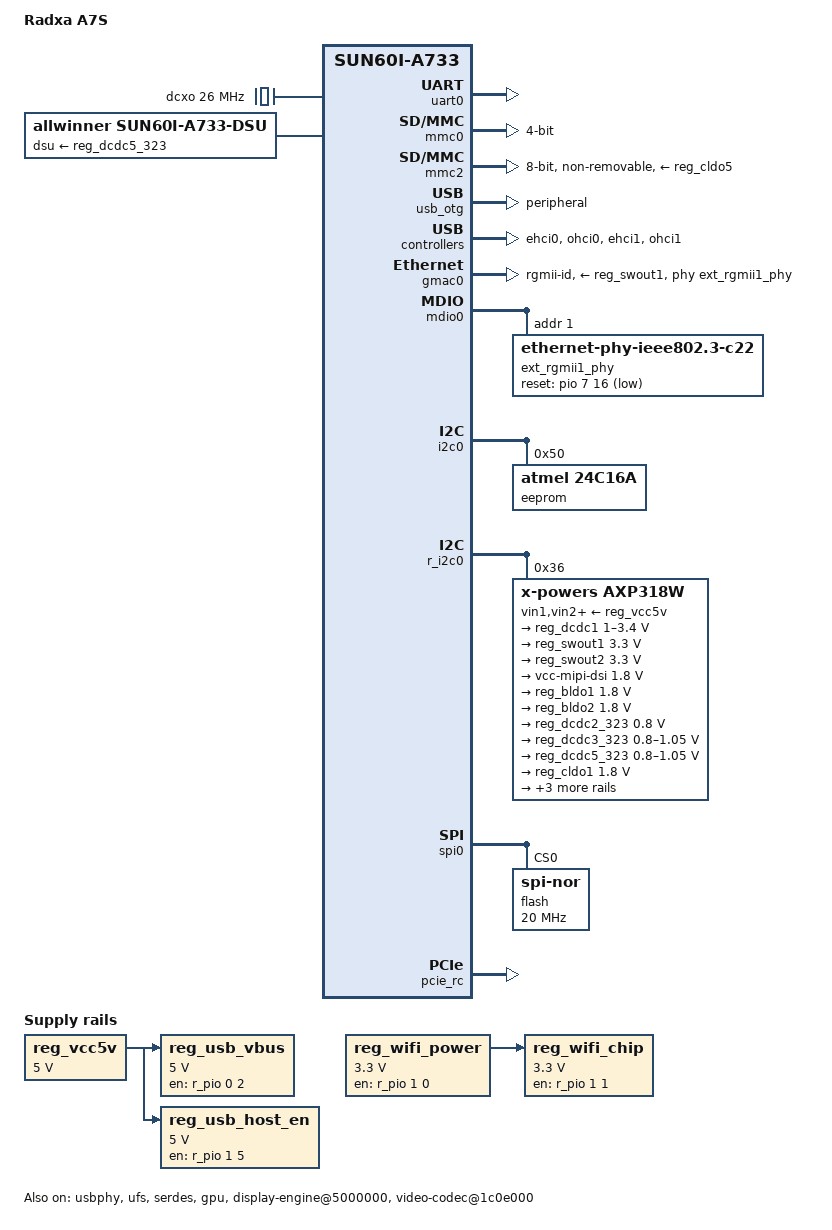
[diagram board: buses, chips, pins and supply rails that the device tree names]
// SPDX-License-Identifier: (GPL-2.0-only OR MIT)
// Copyright (C) 2025 Arm Ltd.

/dts-v1/;

#include "sun60i-a733.dtsi"

#include <dt-bindings/gpio/gpio.h>

/ {
	model = "Radxa A7S";
	compatible = "radxa,cubie-a7s", "allwinner,sun60i-a733";

	aliases {
		serial0 = &uart0;
	};

	chosen {
		stdout-path = "serial0:115200n8";
	};

	reg_vcc5v: vcc5v {
		/* board wide 5V supply from the USB-C connector */
		compatible = "regulator-fixed";
		regulator-name = "vcc-5v";
		regulator-min-microvolt = <5000000>;
		regulator-max-microvolt = <5000000>;
		regulator-always-on;
	};

	reg_usb_vbus: vbus {
		compatible = "regulator-fixed";
		regulator-name = "usb-vbus";
		regulator-min-microvolt = <5000000>;
		regulator-max-microvolt = <5000000>;
		vin-supply = <&reg_vcc5v>;
		gpio = <&r_pio 0 2 GPIO_ACTIVE_HIGH>;	/* PL2 */
		enable-active-high;
	};

	reg_usb_host_en: usb-host-en {
		compatible = "regulator-fixed";
		regulator-name = "usb-host-en";
		regulator-min-microvolt = <5000000>;
		regulator-max-microvolt = <5000000>;
		vin-supply = <&reg_vcc5v>;
		gpio = <&r_pio 1 5 GPIO_ACTIVE_HIGH>;	/* PM5 */
		enable-active-high;
		regulator-always-on;
		regulator-boot-on;
	};
};

&uart0 {
	pinctrl-names = "default";
	pinctrl-0 = <&uart0_pb_pins>;
	status = "okay";
};

&mmc0 {
	bootph-all;
	bus-width = <4>;
	status = "okay";
};

&mmc2 {
	bootph-all;
	bus-width = <8>;
	cap-mmc-hw-reset;
	mmc-ddr-1_8v;
	mmc-hs200-1_8v;
	non-removable;
	vmmc-supply = <&reg_cldo5>;
	vqmmc-supply = <&reg_swout2>;
	status = "okay";
};

&usb_otg {
	dr_mode = "peripheral";
	status = "okay";
};

&usbphy {
	usb0_vbus-supply = <&reg_vcc5v>;
	usb1_vbus-supply = <&reg_usb_vbus>;
	status = "okay";
};

&ehci0 {
	status = "okay";
};

&ohci0 {
	status = "okay";
};

&ehci1 {
	status = "okay";
};

&ohci1 {
	status = "okay";
};

&gmac0 {
	phy-mode = "rgmii-id";
	phy-handle = <&ext_rgmii1_phy>;
	phy-supply = <&reg_swout1>;

	tx-internal-delay-ps = <1200>;
	rx-internal-delay-ps = <1000>;

	status = "okay";
};

&mdio0 {
	ext_rgmii1_phy: ethernet-phy@1 {
		compatible = "ethernet-phy-ieee802.3-c22";
		reg = <1>;
		reset-gpios = <&pio 7 16 GPIO_ACTIVE_LOW>; /* PH16 */
		reset-assert-us = <10000>;
		reset-deassert-us = <150000>;
	};
};

&i2c0 {
	status = "okay";
	eeprom: eeprom@50 {
		compatible = "atmel,24c16a", "i2c-eeprom";
		reg = <0x50>;
	};
};

&r_i2c0 {
	status = "okay";

	axp318w: pmic@36 {
		compatible = "x-powers,axp318w";
		reg = <0x36>;
		#interrupt-cells = <1>;
		interrupt-controller;
		interrupt-parent = <&nmi_intc>;
		interrupts = <0 IRQ_TYPE_LEVEL_LOW>;
		status = "okay";

		vin1-supply = <&reg_vcc5v>;
		vin2-supply = <&reg_vcc5v>;
		vin3-supply = <&reg_vcc5v>;

		regulators {
			reg_dcdc1: dcdc1 {
				regulator-always-on;
				regulator-min-microvolt = <1000000>;
				regulator-max-microvolt = <3400000>;
				regulator-name = "vdd-3v3";
			};

			reg_swout1: swout1 {
				regulator-always-on;
				regulator-min-microvolt = <3300000>;
				regulator-max-microvolt = <3300000>;
				regulator-name = "vdd-swout1";
			};

			reg_swout2: swout2 {
				regulator-always-on;
				regulator-min-microvolt = <3300000>;
				regulator-max-microvolt = <3300000>;
				regulator-name = "vdd-swout2";
			};

			aldo1 {
				regulator-min-microvolt = <1800000>;
				regulator-max-microvolt = <1800000>;
				regulator-name = "vcc-mipi-dsi";
			};

			reg_bldo1: bldo1 {
				regulator-always-on;
				regulator-min-microvolt = <1800000>;
				regulator-max-microvolt = <1800000>;
				regulator-name = "vcc-pe";
			};

			reg_bldo2: bldo2 {
				regulator-always-on;
				regulator-min-microvolt = <1800000>;
				regulator-max-microvolt = <1800000>;
				regulator-name = "vcc-pd";
			};

			/* Supplies the SYSFB */
			reg_dcdc2_323: dcdc2 {
				regulator-always-on;
				regulator-min-microvolt = <800000>;
				regulator-max-microvolt = <800000>;
				regulator-name = "vdd-sys";
			};

			/* Supplies the "big" cluster (2 GHz cores); the range of
			   the BSP's operating points (air/OS) */
			reg_dcdc3_323: dcdc3 {
				regulator-always-on;
				regulator-min-microvolt = <800000>;
				regulator-max-microvolt = <1050000>;
				regulator-name = "vdd-cpub";
			};

			/* DCDC4 is polyphased with DCDC1 */

			/* Supplies the "small" cluster (1.8 GHz cores) and the DSU;
			   the range of the BSP's operating points (air/OS) */
			reg_dcdc5_323: dcdc5 {
				regulator-always-on;
				regulator-min-microvolt = <800000>;
				regulator-max-microvolt = <1050000>;
				regulator-name = "vdd-cpul";
			};

			reg_cldo1: cldo1 {
				regulator-min-microvolt = <1800000>;
				regulator-max-microvolt = <1800000>;
				regulator-name = "vcc-pm";
			};

			reg_cldo2: cldo2 {
				regulator-min-microvolt = <1800000>;
				regulator-max-microvolt = <1800000>;
				regulator-name = "vcc-hdmi";
			};

			reg_cldo3: cldo3 {
				regulator-min-microvolt = <1800000>;
				regulator-max-microvolt = <1800000>;
				regulator-name = "vcc-dram";
			};

			reg_cldo4: cldo4 {
				/* not connected */
			};

			reg_cldo5: cldo5 {
				regulator-min-microvolt = <1800000>;
				regulator-max-microvolt = <1800000>;
				regulator-name = "vcc-pc";
			};
		};
	};
};

&spi0  {
	status = "okay";

	flash@0 {
		#address-cells = <1>;
		#size-cells = <1>;
		compatible = "jedec,spi-nor";
		reg = <0>;
		spi-max-frequency = <20000000>;
	};
};

&ufs {
	bootph-all;
	status = "okay";
};

&serdes {
	status = "okay";
	combophy0: combo-phy0@6c01000 {
		lane_invert = <0 0 0 0>;
		lane_remap = <2 3 0 1>;
	};
};

&pcie_rc {
	status = "okay";
	pcie1v8-supply = <&reg_bldo1>;
	pcie3v3-supply = <&reg_dcdc1>;
};

/* air/OS additions */

/ {
	aliases {
		ethernet0 = &gmac0;
		mmc0 = &mmc0;
		mmc1 = &mmc2;
	};

	/* The AIC8800 Wi-Fi/Bluetooth module (USB, behind the CH334F hub):
	   power and chip enable, always on as in Radxa's BSP device tree. */
	reg_wifi_power: regulator-wifi-power {
		compatible = "regulator-fixed";
		regulator-name = "wifi-power-en";
		regulator-min-microvolt = <3300000>;
		regulator-max-microvolt = <3300000>;
		gpio = <&r_pio 1 0 GPIO_ACTIVE_HIGH>;	/* PM0 */
		enable-active-high;
		regulator-always-on;
	};

	reg_wifi_chip: regulator-wifi-chip {
		compatible = "regulator-fixed";
		regulator-name = "wifi-chip-en";
		regulator-min-microvolt = <3300000>;
		regulator-max-microvolt = <3300000>;
		gpio = <&r_pio 1 1 GPIO_ACTIVE_HIGH>;	/* PM1 */
		enable-active-high;
		regulator-always-on;
		vin-supply = <&reg_wifi_power>;
	};

	reserved-memory {
		#address-cells = <2>;
		#size-cells = <2>;
		ranges;

		/* the TF-A (BL31) of Radxa's boot chains, where its own Linux
		   device tree puts it */
		bl31@48000000 {
			reg = <0x0 0x48000000 0x0 0x1000000>;
			no-map;
		};
	};
};

/ {
	soc {
		/* PowerVR BXM-4-64 MC1 (BVNC 36.56.104.183), as Radxa's BSP device
		   tree describes it; the powervr driver handles its clocks and power
		   domains (CCU 0xb20/0xb24, PCK-600 domains 5 and 6) itself. */
		gpu: gpu@1800000 {
			compatible = "allwinner,sun60i-a733-gpu", "img,img-bxm-4-64",
				"img,img-rogue";
			reg = <0x01800000 0x90000>;
			interrupts = <GIC_SPI 63 IRQ_TYPE_LEVEL_HIGH>;
			status = "okay";
		};

		/* Display engine 3.5 with its TCONs and the DisplayPort transmitter;
		   the sunxi_display driver drives the whole chain. The interrupt is
		   TCON-TV1's (vertical blank), the TCON the DisplayPort output is
		   fed from. */
		display-engine@5000000 {
			compatible = "allwinner,sun60i-a733-display-engine";
			reg = <0x05000000 0x400000>;
			interrupts = <GIC_SPI 58 IRQ_TYPE_LEVEL_HIGH>;
			status = "okay";
		};

		/* The video decoder (Cedar VE: H.264, H.265, VP9), its 8 KiB as the
		   A733 user manual's memory map gives them; Radxa's BSP tree spans
		   0x3000 and so the encoder's page as well. The sunxi_ve driver
		   handles its clock, reset, power domain 2 and IOMMU bypass itself
		   (CCU 0xa88/0xa8c, PCK-600 domain 2, IOMMU1 masters 0 and 1). */
		video-codec@1c0e000 {
			compatible = "allwinner,sun60i-a733-video-engine";
			reg = <0x01c0e000 0x2000>;
			interrupts = <GIC_SPI 49 IRQ_TYPE_LEVEL_HIGH>;
			status = "okay";
		};
	};
};

/* The cores' top speeds, as Radxa's BSP runs them (cpufreq: 1794 MHz for the
   Cortex-A55s, 2002 MHz for the Cortex-A76s); About and sysinfo show them.
   Each cluster's PLL, operating points (sun60i-a733-opp-26m.dtsi) and rail,
   for the sunxi_thermal driver's frequency scaling. */
&cpu0 {
	clock-frequency = <1794000000>;
	clocks = <&cpupll 1>;
	operating-points-v2 = <&cpul_opp>;
	cpu-supply = <&reg_dcdc5_323>;
};
&cpu1 {
	clock-frequency = <1794000000>;
	clocks = <&cpupll 1>;
	operating-points-v2 = <&cpul_opp>;
	cpu-supply = <&reg_dcdc5_323>;
};
&cpu2 {
	clock-frequency = <1794000000>;
	clocks = <&cpupll 1>;
	operating-points-v2 = <&cpul_opp>;
	cpu-supply = <&reg_dcdc5_323>;
};
&cpu3 {
	clock-frequency = <1794000000>;
	clocks = <&cpupll 1>;
	operating-points-v2 = <&cpul_opp>;
	cpu-supply = <&reg_dcdc5_323>;
};
&cpu4 {
	clock-frequency = <1794000000>;
	clocks = <&cpupll 1>;
	operating-points-v2 = <&cpul_opp>;
	cpu-supply = <&reg_dcdc5_323>;
};
&cpu5 {
	clock-frequency = <1794000000>;
	clocks = <&cpupll 1>;
	operating-points-v2 = <&cpul_opp>;
	cpu-supply = <&reg_dcdc5_323>;
};
&cpu6 {
	clock-frequency = <2002000000>;
	clocks = <&cpupll 2>;
	operating-points-v2 = <&cpub_opp>;
	cpu-supply = <&reg_dcdc3_323>;
};
&cpu7 {
	clock-frequency = <2002000000>;
	clocks = <&cpupll 2>;
	operating-points-v2 = <&cpub_opp>;
	cpu-supply = <&reg_dcdc3_323>;
};
/* the U-Boot tree calls the two big cores Cortex-A55s too */
&cpu6 { compatible = "arm,cortex-a76"; };
&cpu7 { compatible = "arm,cortex-a76"; };

#include "sun60i-a733-opp-26m.dtsi"

/* Thermal management (sunxi_thermal): the thermal sensor controller with
   its factory calibration, the CPU PLLs, and the zones of Radxa's BSP
   device tree with air/OS trips. No fan is fitted: at 80 C the driver
   brings the cores' top speed down a step at a time (back up below 76 C),
   at 90 C (the BSP's "hot" passive trips) everything goes to the lowest
   speed, at 96 C the system shuts down; the BSP's critical 110 C is above
   the 100 C or so at which the board lost power in the lab. */
/ {
	/* the A733's crystal (DCXO): 26 MHz on this board */
	dcxo: dcxo-clk {
		#clock-cells = <0>;
		compatible = "fixed-clock";
		clock-frequency = <26000000>;
		clock-output-names = "dcxo";
	};

	soc {
		/* the eFuse (SID); cells at offsets into the block, whose
		   eFuse words start at 0x200 */
		sid: efuse@3006000 {
			compatible = "allwinner,sun60i-a733-sid";
			reg = <0x03006000 0x1000>;
			#address-cells = <1>;
			#size-cells = <1>;

			ths_calibration: thermal-sensor-calibration@244 {
				reg = <0x244 0xc>;
			};

			cpu_speed_grade: cpu-speed-grade@24c {
				reg = <0x24c 0x4>;
			};
		};

		ths: thermal-sensor@2522000 {
			compatible = "allwinner,sun60i-a733-ths";
			reg = <0x02522000 0x500>;
			nvmem-cells = <&ths_calibration>;
			nvmem-cell-names = "calibration";
			#thermal-sensor-cells = <1>;
		};

		/* the cores' PLLs: 1 the little cluster, 2 the big one, 3 the
		   DSU (the BSP's numbering) */
		cpupll: clock-controller@8870000 {
			compatible = "allwinner,sun60i-a733-cpupll";
			reg = <0x08870000 0x4000>;
			clocks = <&dcxo>;
			#clock-cells = <1>;
		};
	};

	/* the DynamIQ Shared Unit, on the little cluster's rail */
	dsu: dsu {
		compatible = "allwinner,sun60i-a733-dsu";
		clocks = <&cpupll 3>;
		operating-points-v2 = <&dsu_opp>;
		dsu-supply = <&reg_dcdc5_323>;
	};

	thermal-zones {
#define CUBIE_ZONE(zone, sensor_id) \
		zone##-thermal { \
			polling-delay-passive = <240>; \
			polling-delay = <240>; \
			thermal-sensors = <&ths sensor_id>; \
			trips { \
				zone##-alert { \
					temperature = <80000>; \
					hysteresis = <4000>; \
					type = "passive"; \
				}; \
				zone##-hot { \
					temperature = <90000>; \
					hysteresis = <2000>; \
					type = "hot"; \
				}; \
				zone##-crit { \
					temperature = <96000>; \
					hysteresis = <0>; \
					type = "critical"; \
				}; \
			}; \
		}
		/* the sensors as the BSP's zones number them */
		CUBIE_ZONE(cpub, 0);
		CUBIE_ZONE(ddr, 1);
		CUBIE_ZONE(npu, 2);
		CUBIE_ZONE(cpul, 3);
		CUBIE_ZONE(gpu, 4);
	};
};
